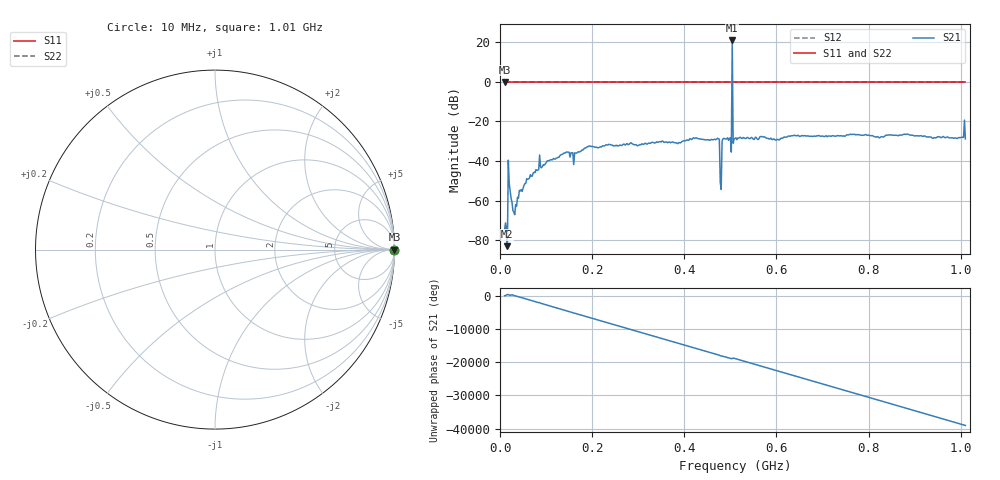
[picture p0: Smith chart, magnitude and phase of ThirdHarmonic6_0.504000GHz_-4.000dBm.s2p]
! 8/15/2025 3:12:26 PM
! C:\ANRITSUVNA\TEMP\TEMP.S2P
! CHANNEL.1
! TR.MEASUREMENT
! RAW.DATA
! RF.CORRECTION.OFF
! AVERAGING.OFF
! IF.BANDWIDTH: 5KHZ
! SWEEPTYPE:  FREQ.SWEEP(Linear)
! Reference Plane Port Info
! PORT:  PORT1  PORT2
! DISTANCE:  0  m  0  m
! TIME:  0  s  0  s
! PHASE.OFFSET:  0  deg.  0  deg.
! LOSS:  0  dB  0  dB
! REF.LOSS:  0  dB  0  dB
! REF.FREQ:  0  Hz  0  Hz
! Power Info
! POWER:  -20  dBm  -20  dBm
! EFF.POWER:  -20  dBm  -20  dBm
! SOURCE.ATTEN:  0  dB  0  dB
! TEST.ATTEN:  0  dB  0  dB
# GHZ S RI R 50.0
! FREQ.GHZ  S11RE  S11IM  S21RE  S21IM  S12RE  S12IM  S22RE  S22IM
!; PortSelection: Port_12
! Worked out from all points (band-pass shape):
!   501 points, 10 MHz to 1.01 GHz, reference 50 ohm
!   highest |S21| = 20.91 dB at 504 MHz (marker M1); lowest = -83.0 dB at 16 MHz (marker M2)
!   |S21| within 3 dB of the highest: 503.8936 MHz to 504.1156 MHz (222 kHz wide, 0.044 % of centre)
!   lowest |S11| = 0.0 dB at 10 MHz (marker M3)
!   |S11| at or under -10 dB: nowhere
!   |S22| runs from 0.0 to 0.0 dB; largest |S21 - S12| = 12
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0.01  1 0  0.000132 -0.000135  1 0  1 0
0.012  1 0  0.000243 0.000127  1 0  1 0
0.016  1 0  5.05e-05 -4.97e-05  1 0  1 0
0.022  1 0  -0.00112 0.00142  1 0  1 0
0.028  1 0  -0.000563 2.59e-05  1 0  1 0
0.032  1 0  0.00038 -0.000225  1 0  1 0
0.042  1 0  0.00109 -0.00146  1 0  1 0
0.082  1 0  -0.00291 0.00512  1 0  1 0
0.178  1 0  -0.0187 -0.00256  1 0  1 0
0.344  1 0  0.0283 -0.0107  1 0  1 0
0.472  1 0  -0.023 -0.0299  1 0  1 0
0.476  1 0  0.0119 0.0337  1 0  1 0
0.48  1 0  -0.00146 -0.00125  1 0  1 0
0.486  1 0  0.0332 0.0178  1 0  1 0
0.498  1 0  -0.00119 -0.0374  1 0  1 0
0.5  1 0  -0.0383 -0.00404  1 0  1 0
0.504  1 0  -9.056 6.42  1 0  1 0
0.508  1 0  -0.0259 -0.0249  1 0  1 0
0.51  1 0  -0.0308 0.021  1 0  1 0
0.678  1 0  -0.0281 -0.0309  1 0  1 0
0.844  1 0  0.0418 0.019  1 0  1 0
1.01  1 0  -0.0361 0.00392  1 0  1 0
